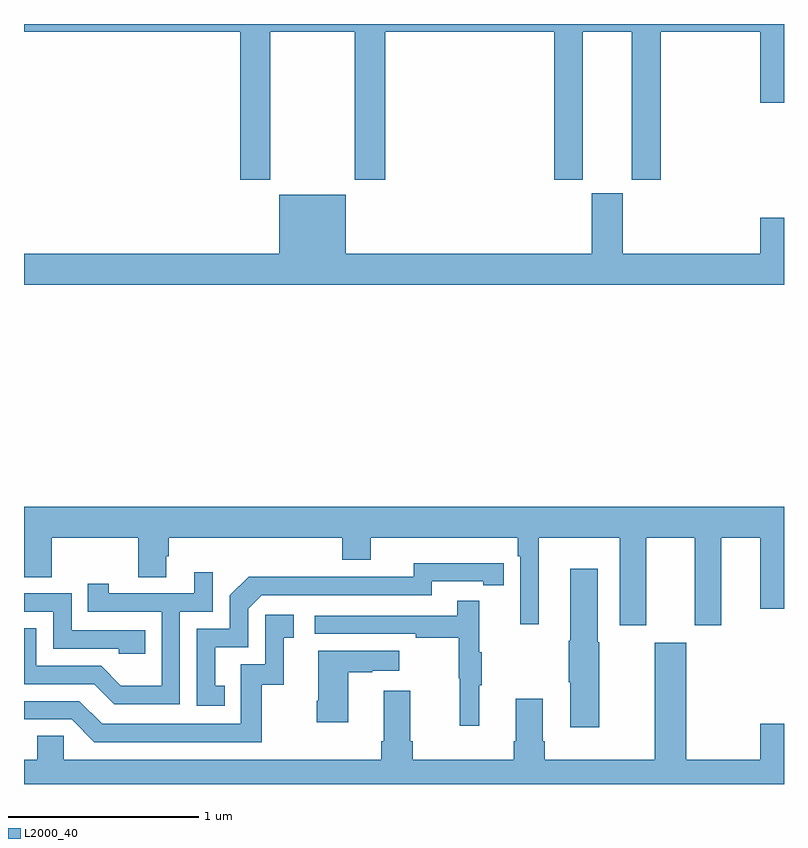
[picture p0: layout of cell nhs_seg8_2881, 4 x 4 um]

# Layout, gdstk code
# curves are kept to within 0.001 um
import gdstk
lib = gdstk.Library(unit=1e-6, precision=1e-09)
def P(c, l, *ps):  # polygons
    for p in ps: c.add(gdstk.Polygon(p, *l))
L2000_40 = (2000, 40)

nhs_seg8_2881 = lib.new_cell('nhs_seg8_2881')
P(nhs_seg8_2881, L2000_40, [(294.297,1089.86),(294.742,1089.86),(294.742,1089.081),(294.902,1089.081),(294.902,1089.86),(295.79,1089.86),(295.79,1089.081),(295.942,1089.081),(295.942,1089.86),(296.198,1089.86),(296.198,1089.081),(296.351,1089.081),(296.351,1089.86),(296.876,1089.86),(296.876,1089.486),(297,1089.486),(297,1089.9),(293,1089.9),(293,1089.86),(294.137,1089.86),(294.137,1089.081),(294.297,1089.081)],
  [(297,1088.881),(296.876,1088.881),(296.876,1088.692),(296.152,1088.692),(296.152,1089.009),(295.988,1089.009),(295.988,1088.692),(294.694,1088.692),(294.694,1089.001),(294.344,1089.001),(294.344,1088.692),(293,1088.692),(293,1088.528),(297,1088.528)],
  [(296.275,1087.196),(296.531,1087.196),(296.531,1086.735),(296.671,1086.735),(296.671,1087.196),(296.876,1087.196),(296.876,1086.822),(297,1086.822),(297,1087.36),(293,1087.36),(293,1086.988),(293.145,1086.988),(293.145,1087.196),(293.602,1087.196),(293.602,1086.988),(293.749,1086.988),(293.749,1087.098),(293.762,1087.098),(293.762,1087.196),(294.674,1087.196),(294.674,1087.079),(294.826,1087.079),(294.826,1087.196),(295.598,1087.196),(295.598,1087.1),(295.611,1087.1),(295.611,1086.741),(295.708,1086.741),(295.708,1087.196),(296.135,1087.196),(296.135,1086.735),(296.275,1086.735)],
  [(294.056,1086.417),(294.007,1086.417),(294.007,1086.621),(294.18,1086.621),(294.18,1086.822),(294.252,1086.894),(295.146,1086.894),(295.146,1086.966),(295.418,1086.966),(295.418,1086.946),(295.526,1086.946),(295.526,1087.062),(295.05,1087.063),(295.05,1086.99),(294.59,1086.99),(294.59,1086.992),(294.182,1086.992),(294.084,1086.894),(294.084,1086.717),(293.91,1086.717),(293.91,1086.312),(294.056,1086.312)],
  [(296.028,1086.647),(296.02,1086.647),(296.02,1087.033),(295.874,1087.033),(295.874,1086.653),(295.867,1086.653),(295.867,1086.436),(295.874,1086.436),(295.874,1086.198),(296.028,1086.198)],
  [(293.82,1086.807),(293.994,1086.807),(293.994,1087.015),(293.897,1087.015),(293.897,1086.903),(293.446,1086.903),(293.446,1086.955),(293.335,1086.955),(293.335,1086.807),(293.724,1086.807),(293.724,1086.418),(293.51,1086.418),(293.406,1086.522),(293.064,1086.522),(293.064,1086.721),(293,1086.721),(293,1086.426),(293.369,1086.426),(293.474,1086.321),(293.82,1086.321)],
  [(293.639,1086.708),(293.25,1086.708),(293.25,1086.903),(293,1086.903),(293,1086.807),(293.154,1086.807),(293.154,1086.612),(293.499,1086.612),(293.499,1086.585),(293.639,1086.585)],
  [(295.397,1086.419),(295.408,1086.419),(295.408,1086.593),(295.397,1086.593),(295.397,1086.865),(295.279,1086.865),(295.279,1086.786),(294.531,1086.786),(294.531,1086.69),(295.063,1086.69),(295.063,1086.67),(295.287,1086.67),(295.287,1086.456),(295.294,1086.456),(295.294,1086.207),(295.397,1086.207)],
  [(294.25,1086.423),(294.368,1086.423),(294.368,1086.669),(294.421,1086.669),(294.421,1086.79),(294.27,1086.79),(294.27,1086.531),(294.141,1086.531),(294.141,1086.216),(293.412,1086.216),(293.292,1086.336),(293,1086.336),(293,1086.24),(293.25,1086.24),(293.37,1086.12),(294.25,1086.12)],
  [(297,1086.217),(296.876,1086.217),(296.876,1086.028),(296.485,1086.028),(296.485,1086.643),(296.321,1086.643),(296.321,1086.028),(295.742,1086.028),(295.742,1086.124),(295.729,1086.124),(295.729,1086.349),(295.589,1086.349),(295.589,1086.124),(295.577,1086.124),(295.577,1086.028),(295.046,1086.028),(295.046,1086.124),(295.033,1086.124),(295.033,1086.391),(294.893,1086.391),(294.893,1086.124),(294.881,1086.124),(294.881,1086.028),(293.208,1086.028),(293.208,1086.155),(293.069,1086.155),(293.069,1086.028),(293,1086.028),(293,1085.9),(297,1085.9)],
  [(294.706,1086.487),(294.833,1086.487),(294.833,1086.497),(294.976,1086.497),(294.976,1086.601),(294.548,1086.601),(294.548,1086.337),(294.541,1086.337),(294.541,1086.225),(294.706,1086.225)])

lib.write_gds('nhs_seg8_2881.gds')
